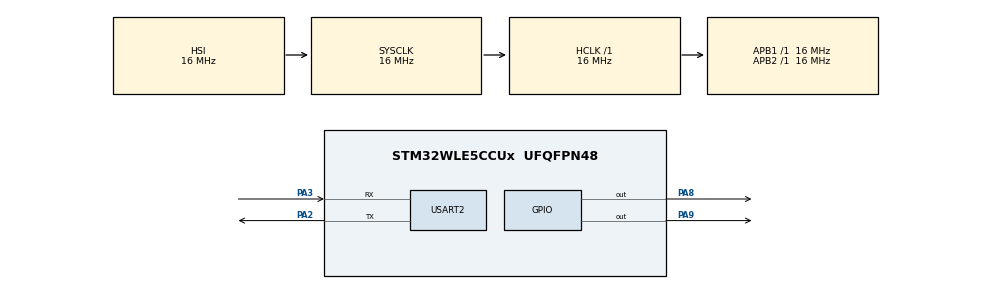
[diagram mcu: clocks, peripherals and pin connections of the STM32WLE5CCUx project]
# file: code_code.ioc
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Dma.Request0=USART2_RX
Dma.Request1=USART2_TX
Dma.USART2_RX.0.Direction=DMA_PERIPH_TO_MEMORY
Dma.USART2_RX.0.EventEnable=DISABLE
Dma.USART2_RX.0.Instance=DMA1_Channel1
Dma.USART2_RX.0.MemDataAlignment=DMA_MDATAALIGN_BYTE
Dma.USART2_RX.0.MemInc=DMA_MINC_ENABLE
Dma.USART2_RX.0.Mode=DMA_NORMAL
Dma.USART2_RX.0.PeriphDataAlignment=DMA_PDATAALIGN_BYTE
Dma.USART2_RX.0.PeriphInc=DMA_PINC_DISABLE
Dma.USART2_RX.0.Polarity=HAL_DMAMUX_REQ_GEN_RISING
Dma.USART2_RX.0.Priority=DMA_PRIORITY_LOW
Dma.USART2_RX.0.RequestNumber=1
Dma.USART2_RX.0.SignalID=NONE
Dma.USART2_RX.0.SyncEnable=DISABLE
Dma.USART2_RX.0.SyncPolarity=HAL_DMAMUX_SYNC_NO_EVENT
Dma.USART2_RX.0.SyncRequestNumber=1
Dma.USART2_RX.0.SyncSignalID=NONE
Dma.USART2_TX.1.Direction=DMA_MEMORY_TO_PERIPH
Dma.USART2_TX.1.EventEnable=DISABLE
Dma.USART2_TX.1.Instance=DMA1_Channel2
Dma.USART2_TX.1.MemDataAlignment=DMA_MDATAALIGN_BYTE
Dma.USART2_TX.1.MemInc=DMA_MINC_ENABLE
Dma.USART2_TX.1.Mode=DMA_NORMAL
Dma.USART2_TX.1.PeriphDataAlignment=DMA_PDATAALIGN_BYTE
Dma.USART2_TX.1.PeriphInc=DMA_PINC_DISABLE
Dma.USART2_TX.1.Polarity=HAL_DMAMUX_REQ_GEN_RISING
Dma.USART2_TX.1.Priority=DMA_PRIORITY_LOW
Dma.USART2_TX.1.RequestNumber=1
Dma.USART2_TX.1.SignalID=NONE
Dma.USART2_TX.1.SyncEnable=DISABLE
Dma.USART2_TX.1.SyncPolarity=HAL_DMAMUX_SYNC_NO_EVENT
Dma.USART2_TX.1.SyncRequestNumber=1
Dma.USART2_TX.1.SyncSignalID=NONE
LORAWAN.STATIC_DEVICE_ADDRESS=true
LORAWAN.STATIC_DEVICE_EUI=true
Mcu.Family=STM32WL
Mcu.Name=STM32WLE5CCUx
Mcu.Package=UFQFPN48
NVIC.DMA1_Channel1_IRQn=true\:0\:0\:false\:false\:true\:false\:true
NVIC.DMA1_Channel2_IRQn=true\:0\:0\:false\:false\:true\:false\:true
NVIC.PriorityGroup=NVIC_PRIORITYGROUP_4
NVIC.RTC_Alarm_IRQn=true\:0\:0\:false\:false\:true\:true\:true
NVIC.SUBGHZ_Radio_IRQn=true\:0\:0\:false\:false\:true\:true\:true
NVIC.USART2_IRQn=true\:0\:0\:false\:false\:true\:true\:true
PA2.Mode=Asynchronous
PA2.Signal=USART2_TX
PA3.Mode=Asynchronous
PA3.Signal=USART2_RX
PA8.GPIO_PuPd=GPIO_NOPULL
PA8.Signal=GPIO_Output
PA9.GPIO_PuPd=GPIO_NOPULL
PA9.Signal=GPIO_Output
ProjectManager.HeapSize=0x200
ProjectManager.StackSize=0x400
ProjectManager.TargetToolchain=STM32CubeIDE
RCC.AHBFreq_Value=16000000
RCC.APB1Freq_Value=16000000
RCC.APB1TimFreq_Value=16000000
RCC.APB2Freq_Value=16000000
RCC.APB2TimFreq_Value=16000000
RCC.APB3Freq_Value=16000000
RCC.CortexFreq_Value=16000000
RCC.HCLKFreq_Value=16000000
RCC.HSE_VALUE=8000000
RCC.HSI_VALUE=16000000
RCC.LSE_VALUE=32768
RCC.SYSCLKFreq_VALUE=16000000
RCC.SYSCLKSource=RCC_SYSCLKSOURCE_HSI
RCC.USART2CLockSelection=RCC_USART2CLKSOURCE_SYSCLK
RCC.VCOOutputFreq_Value=32000000
RTC.Alarm-Alarm\ A=RTC_ALARM_A
RTC.Alarm_B-Alarm\ B=RTC_ALARM_B
USART2.VirtualMode-Asynchronous=VM_ASYNC
VP_ADV_TRACE_VS_ADV_TRACE.Mode=ADV_TRACE_Enabled
VP_LORAWAN_VS_LoRaWAN.Mode=LoRaWAN_Enabled
VP_MISC_VS_MISC.Mode=MISC_Enabled
VP_RTC_VS_RTC_Activate.Mode=RTC_Enabled
VP_RTC_VS_RTC_Alarm_A_Intern.Mode=Alarm A
VP_RTC_VS_RTC_Alarm_B_Intern.Mode=Alarm B
VP_RTC_VS_RTC_Calendar.Mode=RTC_Calendar
VP_SEQUENCER_VS_SEQUENCER.Mode=SEQUENCER_Enabled
VP_SUBGHZ_VS_SUBGHZ.Mode=SUBGHZ_Activate
VP_TIMER_VS_TIMER.Mode=TIMER_Enabled
VP_TINY_LPM_VS_TINY_LPM.Mode=TINY_LPM_Enabled
board=custom

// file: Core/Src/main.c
/* USER CODE BEGIN Header */
/**
  ******************************************************************************
  * @file           : main.c
  * @brief          : Main program body
  ******************************************************************************
  * @attention
  *
  * Copyright (c) 2023 STMicroelectronics.
  * All rights reserved.
  *
  * This software is licensed under terms that can be found in the LICENSE file
  * in the root directory of this software component.
  * If no LICENSE file comes with this software, it is provided AS-IS.
  *
  ******************************************************************************
  */
/* USER CODE END Header */
#include "main.h"
#include "dma.h"
#include "app_lorawan.h"
#include "rtc.h"
#include "subghz.h"
#include "usart.h"
#include "gpio.h"

/* USER CODE BEGIN Includes */
#include "LmHandler.h"
/* USER CODE END Includes */

void SystemClock_Config(void);

/* USER CODE BEGIN 0 */
static LmHandlerParams_t LoRaWANParams = {
    .ActiveRegion = LORAMAC_REGION_CN470,
    .DefaultClass = CLASS_A,
    .AdrEnable = LORAMAC_HANDLER_ADR_OFF,
    .TxDatarate  = DR_2,
    .PingPeriodicity = 4,
};
/* USER CODE END 0 */

int main(void)
{

  /* MCU Configuration--------------------------------------------------------*/

  /* Reset of all peripherals, Initializes the Flash interface and the Systick. */
  HAL_Init();

  /* Configure the system clock */
  SystemClock_Config();

  /* Initialize all configured peripherals */
  MX_GPIO_Init();
  MX_DMA_Init();
  MX_RTC_Init();
  MX_USART2_UART_Init();
  MX_SUBGHZ_Init();
  MX_LoRaWAN_Init();
  /* USER CODE BEGIN 2 */
   LmHandlerConfigure(&LoRaWANParams);
  /* USER CODE END 2 */

  /* Infinite loop */
  while (1)
  {
    MX_LoRaWAN_Process();

    /* USER CODE BEGIN 3 */
    LmHandlerProcess();
        static bool first = true;
    LmHandlerMsgTypes_t confirm = 0;
    static LmHandlerErrorStatus_t send_status = 0;
    static uint32_t time;
    if (first == true || HAL_GetTick() - time > 10000) {
        time = HAL_GetTick();
    } else {
        return;
    }

    if(first == false && LoRaMacIsBusy() == true) {
        printf("The Mac is Busy\r\n");
    } else if(LmHandlerJoinStatus() == LORAMAC_HANDLER_RESET) {
        first = false;
        MibRequestConfirm_t mibReq = {0};

        /*打印DevEui 与 AppEui参数*/
        mibReq.Type = MIB_DEV_EUI;
        LoRaMacMibGetRequestConfirm(&mibReq);
        printf( "Default DevEui      : %02X", mibReq.Param.DevEui[0] );
        for( int i = 1; i < 8; i++ ){
            printf( "-%02X", mibReq.Param.DevEui[i] );
        }
            printf( "\r\n" );

        /*打印 AppKey */
        mibReq.Type = MIB_APP_KEY;
        LoRaMacMibGetRequestConfirm(&mibReq);
        printf( "AppKey      : %02X", mibReq.Param.AppKey[0] );
        for( int i = 1; i < 16; i++ ){
            printf( "-%02X", mibReq.Param.AppKey[i] );
        }
            printf( "\r\n" );

        mibReq.Type = MIB_JOIN_EUI; //其实就是appeui
        LoRaMacMibGetRequestConfirm(&mibReq);
        printf( "AppEui      : %02X", mibReq.Param.JoinEui[0] );
        for( int i = 1; i < 8; i++ ){
            printf( "-%02X", mibReq.Param.JoinEui[i] );
        }
            printf( "\r\n" );

        /*设置信道掩码*/
        uint16_t chan_mask[6] = {0xffff, 0xffff, 0xffff, 0xffff, 0xffff, 0xffff};
        mibReq.Type = MIB_CHANNELS_DEFAULT_MASK;
        mibReq.Param.ChannelsMask = chan_mask;
        LoRaMacMibSetRequestConfirm(&mibReq);

        printf("The netting\r\n");
        LmHandlerJoin(ACTIVATION_TYPE_OTAA);
    }
  }
  /* USER CODE END 3 */
}

void SystemClock_Config(void)
{
  RCC_OscInitTypeDef RCC_OscInitStruct = {0};
  RCC_ClkInitTypeDef RCC_ClkInitStruct = {0};

  /** Configure the main internal regulator output voltage
  */
  __HAL_PWR_VOLTAGESCALING_CONFIG(PWR_REGULATOR_VOLTAGE_SCALE2);
  /** Initializes the CPU, AHB and APB busses clocks
  */
  RCC_OscInitStruct.OscillatorType = RCC_OSCILLATORTYPE_HSI|RCC_OSCILLATORTYPE_LSI;
  RCC_OscInitStruct.HSIState = RCC_HSI_ON;
  RCC_OscInitStruct.HSICalibrationValue = RCC_HSICALIBRATION_DEFAULT;
  RCC_OscInitStruct.LSIDiv = RCC_LSI_DIV1;
  RCC_OscInitStruct.LSIState = RCC_LSI_ON;
  RCC_OscInitStruct.PLL.PLLState = RCC_PLL_NONE;
  if (HAL_RCC_OscConfig(&RCC_OscInitStruct) != HAL_OK)
  {
    Error_Handler();
  }
  /** Configure the SYSCLKSource, HCLK, PCLK1 and PCLK2 clocks dividers
  */
  RCC_ClkInitStruct.ClockType = RCC_CLOCKTYPE_HCLK3|RCC_CLOCKTYPE_HCLK
                              |RCC_CLOCKTYPE_SYSCLK|RCC_CLOCKTYPE_PCLK1
                              |RCC_CLOCKTYPE_PCLK2;
  RCC_ClkInitStruct.SYSCLKSource = RCC_SYSCLKSOURCE_HSI;
  RCC_ClkInitStruct.AHBCLKDivider = RCC_SYSCLK_DIV1;
  RCC_ClkInitStruct.APB1CLKDivider = RCC_HCLK_DIV1;
  RCC_ClkInitStruct.APB2CLKDivider = RCC_HCLK_DIV1;
  RCC_ClkInitStruct.AHBCLK3Divider = RCC_SYSCLK_DIV1;

  if (HAL_RCC_ClockConfig(&RCC_ClkInitStruct, FLASH_LATENCY_0) != HAL_OK)
  {
    Error_Handler();
  }
}

void Error_Handler(void)
{
  __disable_irq();
  while (1)
  {
  }
}
